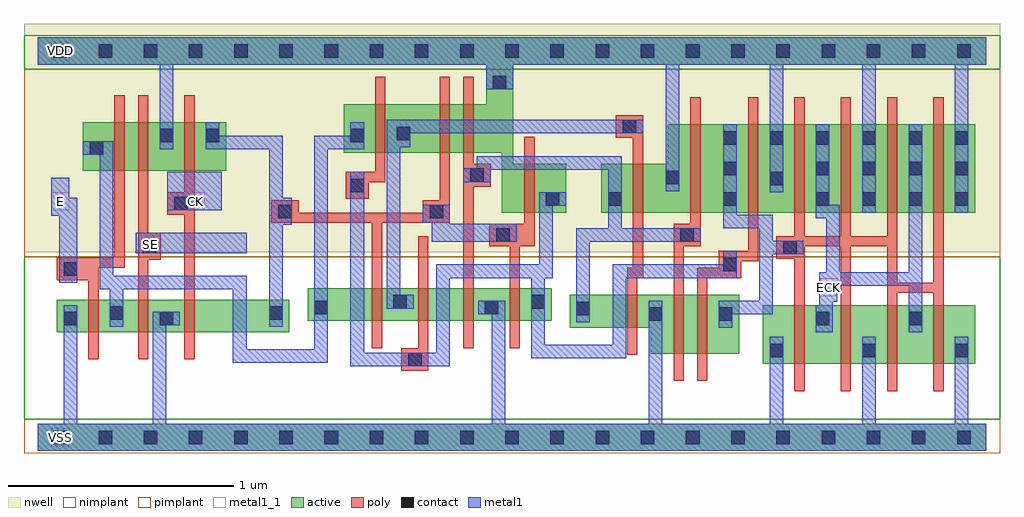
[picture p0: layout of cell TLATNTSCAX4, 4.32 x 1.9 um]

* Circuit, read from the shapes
.subckt TLATNTSCAX4 CK E ECK SE VDD VSS
M1 n1 E VSS VSS nfet w=0.145u l=0.045u
M2 VSS SE n1 VSS nfet w=0.145u l=0.045u
M3 n2 CK VSS VSS nfet w=0.145u l=0.045u
M4 n3 n2 n1 VSS nfet w=0.145u l=0.045u
M5 n4 n5 n3 VSS nfet w=0.145u l=0.045u
M6 VSS n6 n4 VSS nfet w=0.145u l=0.045u
M7 n5 n2 VSS VSS nfet w=0.145u l=0.045u
M8 VSS n3 n6 VSS nfet w=0.145u l=0.045u
M9 n7 n6 VSS VSS nfet w=0.26u l=0.045u
M10 n8 n5 n7 VSS nfet w=0.26u l=0.045u
M11 ECK n8 VSS VSS nfet w=0.26u l=0.045u m=4
M12 n9 E n1 VDD pfet w=0.215u l=0.045u
M13 VDD SE n9 VDD pfet w=0.215u l=0.045u
M14 n2 CK VDD VDD pfet w=0.215u l=0.045u
M15 n3 n5 n1 VDD pfet w=0.215u l=0.045u
M16 n10 n2 n3 VDD pfet w=0.215u l=0.045u
M17 VDD n6 n10 VDD pfet w=0.215u l=0.045u
M18 n5 n2 VDD VDD pfet w=0.215u l=0.045u
M19 VDD n3 n6 VDD pfet w=0.215u l=0.045u
M20 n8 n6 VDD VDD pfet w=0.39u l=0.045u
M21 VDD n5 n8 VDD pfet w=0.39u l=0.045u
M22 ECK n8 VDD VDD pfet w=0.39u l=0.045u m=4
.ends

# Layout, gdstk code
import gdstk
lib = gdstk.Library(unit=1e-6, precision=5e-10)
def R(c, l, rs):  # rectangles x0, y0, x1, y1
    for r in rs: c.add(gdstk.rectangle(r[:2], r[2:], *l))
def A(c, l, x, y, w, h, nx, ny, dx, dy):  # array of equal rectangles
    R(c, l, [(x+i*dx, y+j*dy, x+i*dx+w, y+j*dy+h) for i in range(nx) for j in range(ny)])
def P(c, l, *ps):  # polygons
    for p in ps: c.add(gdstk.Polygon(p, *l))
active = (1, 0)
nwell = (2, 0)
poly = (3, 0)
nimplant = (4, 0)
pimplant = (5, 0)
contact = (6, 0)
metal1 = (7, 0)
metal1_1 = (7, 1)

tlatntscax4 = lib.new_cell('TLATNTSCAX4')
R(tlatntscax4, active, [(0,-0.06,4.2,0.06), (3.21,0.325,4.15,0.585), (0.085,0.465,1.115,0.61), (1.195,0.515,2.275,0.66), (0.2,1.18,0.835,1.395)])
P(tlatntscax4, active, [(0,1.77),(4.2,1.77),(4.2,1.65),(2.105,1.65),(2.105,1.21),(2.34,1.21),(2.34,0.995),(2.055,0.995),(2.055,1.26),(1.355,1.26),(1.355,1.475),(1.985,1.475),(1.985,1.65),(0,1.65)],
  [(2.79,1.385),(4.15,1.385),(4.15,0.995),(2.495,0.995),(2.495,1.21),(2.79,1.21)],
  [(2.355,0.63),(3.105,0.63),(3.105,0.37),(2.715,0.37),(2.715,0.485),(2.355,0.485)])
R(tlatntscax4, nwell, [(-0.06,0.82,4.26,1.83)])
P(tlatntscax4, poly, [(0.34,1.515),(0.385,1.515),(0.385,0.75),(0.27,0.75),(0.27,0.345),(0.225,0.345),(0.225,0.695),(0.085,0.695),(0.085,0.795),(0.34,0.795)],
  [(0.445,1.515),(0.49,1.515),(0.49,0.905),(0.545,0.905),(0.545,0.785),(0.49,0.785),(0.49,0.345),(0.445,0.345)],
  [(0.65,1.515),(0.695,1.515),(0.695,0.345),(0.65,0.345),(0.65,0.985),(0.575,0.985),(0.575,1.085),(0.65,1.085)],
  [(1.495,1.595),(1.54,1.595),(1.54,1.13),(1.465,1.13),(1.465,1.055),(1.365,1.055),(1.365,1.175),(1.495,1.175)],
  [(1.78,1.595),(1.825,1.595),(1.825,0.95),(1.525,0.95),(1.525,0.395),(1.48,0.395),(1.48,0.95),(1.035,0.95),(1.035,1.05),(1.155,1.05),(1.155,0.995),(1.705,0.995),(1.705,1.05),(1.78,1.05)],
  [(1.885,1.595),(1.93,1.595),(1.93,1.21),(2.005,1.21),(2.005,1.11),(1.93,1.11),(1.93,0.395),(1.885,0.395)],
  [(2.56,1.425),(2.68,1.425),(2.68,0.705),(2.655,0.705),(2.655,0.365),(2.61,0.365),(2.61,0.75),(2.635,0.75),(2.635,1.325),(2.56,1.325)],
  [(2.89,1.505),(2.935,1.505),(2.935,0.845),(2.86,0.845),(2.86,0.25),(2.815,0.25),(2.815,0.945),(2.89,0.945)],
  [(3.145,1.505),(3.19,1.505),(3.19,0.78),(3.115,0.78),(3.115,0.705),(2.965,0.705),(2.965,0.25),(2.92,0.25),(2.92,0.75),(3.015,0.75),(3.015,0.825),(3.145,0.825)],
  [(3.35,1.505),(3.395,1.505),(3.395,0.89),(3.555,0.89),(3.555,1.505),(3.6,1.505),(3.6,0.89),(3.76,0.89),(3.76,1.505),(3.805,1.505),(3.805,0.685),(3.965,0.685),(3.965,1.505),(4.01,1.505),(4.01,0.205),(3.965,0.205),(3.965,0.64),(3.805,0.64),(3.805,0.205),(3.76,0.205),(3.76,0.845),(3.6,0.845),(3.6,0.205),(3.555,0.205),(3.555,0.845),(3.395,0.845),(3.395,0.205),(3.35,0.205),(3.35,0.79),(3.27,0.79),(3.27,0.89),(3.35,0.89)],
  [(2.155,1.33),(2.2,1.33),(2.2,0.845),(2.135,0.845),(2.135,0.395),(2.09,0.395),(2.09,0.845),(2,0.845),(2,0.945),(2.155,0.945)],
  [(1.685,0.89),(1.73,0.89),(1.73,0.295),(1.61,0.295),(1.61,0.395),(1.685,0.395)])
R(tlatntscax4, nimplant, [(-0.06,0.08,4.26,0.8), (-0.06,1.63,4.26,1.78)])
R(tlatntscax4, pimplant, [(-0.06,-0.07,4.26,0.08), (-0.06,0.8,4.26,1.63)])
A(tlatntscax4, contact, 0.07, -0.03, 0.06, 0.06, 21, 2, 0.2, 1.71)
A(tlatntscax4, contact, 3.24, 0.355, 0.06, 0.06, 3, 1, 0.41, 0)
A(tlatntscax4, contact, 3.445, 1.025, 0.06, 0.06, 4, 2, 0.205, 0.135)
A(tlatntscax4, contact, 3.035, 1.295, 0.06, 0.06, 6, 1, 0.205, 0)
R(tlatntscax4, contact, [(1.64,0.315,1.7,0.375), (0.115,0.495,0.175,0.555), (0.54,0.495,0.6,0.555), (3.445,0.495,3.505,0.555), (3.855,0.495,3.915,0.555), (2.705,0.515,2.765,0.575), (3.015,0.515,3.075,0.575), (0.32,0.52,0.38,0.58), (1.025,0.52,1.085,0.58), (2.385,0.54,2.445,0.6), (1.225,0.545,1.285,0.605), (1.98,0.545,2.04,0.605), (1.575,0.57,1.635,0.63), (2.185,0.57,2.245,0.63), (0.115,0.715,0.175,0.775), (3.035,0.735,3.095,0.795), (3.3,0.81,3.36,0.87), (0.465,0.815,0.525,0.875), (2.03,0.865,2.09,0.925), (2.845,0.865,2.905,0.925), (1.065,0.97,1.125,1.03), (1.735,0.97,1.795,1.03), (0.605,1.005,0.665,1.065), (2.25,1.025,2.31,1.085), (2.525,1.025,2.585,1.085), (3.035,1.025,3.095,1.085), (1.385,1.085,1.445,1.145), (3.24,1.115,3.3,1.175), (2.78,1.12,2.84,1.18), (1.915,1.13,1.975,1.19), (3.035,1.16,3.095,1.22), (0.23,1.25,0.29,1.31), (0.54,1.305,0.6,1.365), (0.745,1.305,0.805,1.365), (1.385,1.305,1.445,1.365), (1.59,1.315,1.65,1.375), (2.59,1.345,2.65,1.405), (2.015,1.54,2.075,1.6)])
R(tlatntscax4, metal1, [(0.435,0.815,0.925,0.905), (0.575,1.005,0.815,1.175)])
P(tlatntscax4, metal1, [(0,1.77),(4.2,1.77),(4.2,1.65),(4.12,1.65),(4.12,0.995),(4.06,0.995),(4.06,1.65),(3.71,1.65),(3.71,0.995),(3.65,0.995),(3.65,1.65),(3.3,1.65),(3.3,1.085),(3.24,1.085),(3.24,1.65),(2.84,1.65),(2.84,1.09),(2.78,1.09),(2.78,1.65),(2.105,1.65),(2.105,1.54),(1.985,1.54),(1.985,1.65),(0.6,1.65),(0.6,1.275),(0.54,1.275),(0.54,1.65),(0,1.65)],
  [(1.545,1.405),(2.68,1.405),(2.68,1.345),(1.65,1.345),(1.65,1.285),(1.605,1.285),(1.605,0.63),(1.665,0.63),(1.665,0.57),(1.545,0.57)],
  [(1.385,1.395),(1.445,1.395),(1.445,1.275),(1.285,1.275),(1.285,0.33),(0.865,0.33),(0.865,0.655),(0.38,0.655),(0.38,0.49),(0.32,0.49),(0.32,0.655),(0.275,0.655),(0.275,1.25),(0.2,1.25),(0.2,1.31),(0.335,1.31),(0.335,0.715),(0.925,0.715),(0.925,0.39),(1.225,0.39),(1.225,1.335),(1.385,1.335)],
  [(0.745,1.395),(0.805,1.395),(0.805,1.335),(1.085,1.335),(1.085,1.06),(1.125,1.06),(1.125,0.94),(1.085,0.94),(1.085,0.49),(1.025,0.49),(1.025,1.275),(0.745,1.275)],
  [(0.06,1.15),(0.14,1.15),(0.14,1.06),(0.175,1.06),(0.175,0.685),(0.095,0.685),(0.095,0.98),(0.06,0.98)],
  [(0.115,0.585),(0.175,0.585),(0.175,0.06),(0.51,0.06),(0.51,0.555),(0.63,0.555),(0.63,0.495),(0.57,0.495),(0.57,0.06),(2.01,0.06),(2.01,0.545),(1.95,0.545),(1.95,0.605),(2.07,0.605),(2.07,0.06),(2.705,0.06),(2.705,0.605),(2.765,0.605),(2.765,0.06),(3.24,0.06),(3.24,0.445),(3.3,0.445),(3.3,0.06),(3.65,0.06),(3.65,0.445),(3.71,0.445),(3.71,0.06),(4.06,0.06),(4.06,0.445),(4.12,0.445),(4.12,0.06),(4.2,0.06),(4.2,-0.06),(0,-0.06),(0,0.06),(0.115,0.06)],
  [(1.385,1.175),(1.445,1.175),(1.445,0.375),(1.765,0.375),(1.765,0.765),(2.22,0.765),(2.22,1.085),(2.34,1.085),(2.34,1.025),(2.28,1.025),(2.28,0.705),(2.245,0.705),(2.245,0.41),(2.545,0.41),(2.545,0.765),(3.035,0.765),(3.035,0.825),(3.095,0.825),(3.095,0.705),(2.605,0.705),(2.605,0.35),(2.185,0.35),(2.185,0.705),(1.825,0.705),(1.825,0.315),(1.385,0.315)],
  [(1.945,1.245),(2.585,1.245),(2.585,0.925),(2.935,0.925),(2.935,0.865),(2.445,0.865),(2.445,0.51),(2.385,0.51),(2.385,0.925),(2.525,0.925),(2.525,1.185),(2.005,1.185),(2.005,1.13),(1.885,1.13),(1.885,1.19),(1.945,1.19)],
  [(1.705,1.03),(1.825,1.03),(1.825,0.945),(2.12,0.945),(2.12,0.865),(1.745,0.865),(1.745,0.95),(1.705,0.95)],
  [(3.035,1.385),(3.095,1.385),(3.095,0.985),(3.255,0.985),(3.255,0.87),(3.39,0.87),(3.39,0.81),(3.255,0.81),(3.255,0.545),(3.075,0.545),(3.075,0.485),(3.015,0.485),(3.015,0.605),(3.195,0.605),(3.195,0.925),(3.035,0.925)],
  [(3.445,1.385),(3.505,1.385),(3.505,1.03),(3.55,1.03),(3.55,0.73),(3.855,0.73),(3.855,1.385),(3.915,1.385),(3.915,0.465),(3.855,0.465),(3.855,0.67),(3.54,0.67),(3.54,0.6),(3.52,0.6),(3.52,0.465),(3.445,0.465),(3.445,0.585),(3.46,0.585),(3.46,0.73),(3.49,0.73),(3.49,0.97),(3.445,0.97)])
R(tlatntscax4, metal1_1, [(0.06,-0.04,0.14,0.04), (3.46,0.625,3.54,0.705), (0.46,0.815,0.54,0.895), (0.06,1.005,0.14,1.085), (0.66,1.005,0.74,1.085), (0.06,1.67,0.14,1.75)])
tlatntscax4.add(gdstk.Label('CK', (0.7,1.045), layer=7, texttype=1))
tlatntscax4.add(gdstk.Label('SE', (0.5,0.855), layer=7, texttype=1))
tlatntscax4.add(gdstk.Label('E', (0.1,1.045), layer=7, texttype=1))
tlatntscax4.add(gdstk.Label('ECK', (3.5,0.665), layer=7, texttype=1))
tlatntscax4.add(gdstk.Label('VDD', (0.1,1.71), layer=7, texttype=1))
tlatntscax4.add(gdstk.Label('VSS', (0.1,0), layer=7, texttype=1))
tlatntscax4.add(gdstk.Label('TLATNTSCAX4', (0,0), layer=63, texttype=0))

lib.write_gds('TLATNTSCAX4.gds')
